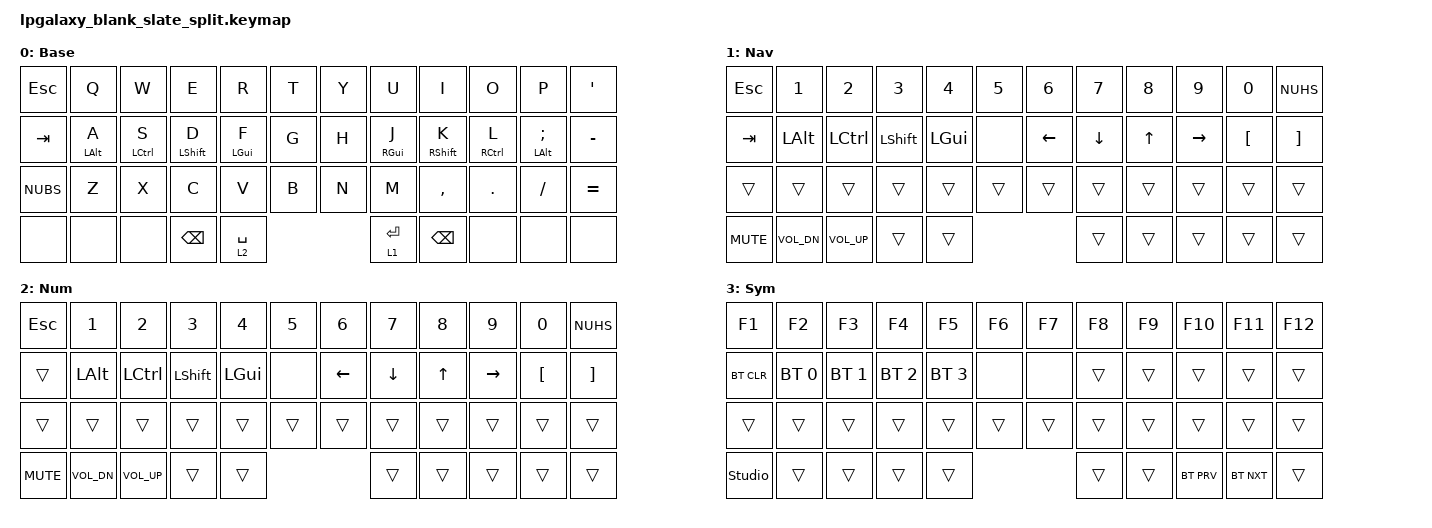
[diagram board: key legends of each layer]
/*
 * Copyright (c) 2022 Pete Johanson
 *
 * SPDX-License-Identifier: MIT
 */

#include <behaviors.dtsi>
#include <dt-bindings/zmk/keys.h>
#include <dt-bindings/zmk/bt.h>
#include <dt-bindings/zmk/outputs.h>

#define QWERTY_BASE 1

//#define TBLE_ORTHO   1
// #define TBLE_MIT     1
#define TBLE_DUAL_2U 1

#define NAV_L 1
#define NUM_L 2
#define SYM_L 3

// Using layer taps on thumbs, having quick tap as well helps w/ repeating space/backspace
&lt { flavor = "tap-preferred";
	tapping-term-ms = <200>;
	quick_tap_ms = <200>; };
&mt { flavor = "tap-preferred";
	tapping-term-ms = <200>;
	quick-tap-ms = <200>; };

#define BT(n) BT_SEL n


/ {
    chosen {
       zmk,physical-layout =
#ifdef TBLE_DUAL_2U
                       &layout_ortho_4x12_2x2u;
#elif defined(TBLE_MIT)
                       &layout_ortho_4x12_1x2u;
#else
                       &layout_ortho_4x12_all1u;
#endif
    };


    macros {
      ZMK_MACRO(thumbs_up,
		wait-ms = <1>;
		tap-ms = <5>;
                bindings = <&kp PLUS &kp COLON &kp PLUS &kp N1 &kp COLON &kp RET>;
		)
    };
    
    tap_dances {
    	shifty: shift_caps_word {
		compatible = "zmk,behavior-tap-dance";
		label = "TD_SHIFTY";
		#binding-cells = <0>;
		tapping-term-ms = <150>;
		bindings = <&kp LSHFT>, <&caps_word>;
	};
    };

// Conditional layer only when we have less thumb keys
#ifdef TBLE_DUAL_2U
    cond_layers {
        compatible = "zmk,conditional-layers";
	tri {
	    if-layers = <NUM_L NAV_L>;
	    then-layer = <SYM_L>;
        };
    };
#endif

    keymap {
        compatible = "zmk,keymap";

        base_layer {
            label = "Base";
            bindings = <
 &kp ESC    &kp Q       &kp W           &kp E           &kp R           &kp T       &kp Y           &kp U           &kp I           &kp O           &kp P           &kp SQT
 &kp TAB    &mt LALT A  &mt LCTRL S     &mt LSHIFT D    &mt LGUI F      &kp G       &kp H           &mt RGUI J      &mt RSHIFT K    &mt RCTRL L     &mt LALT SEMI   &kp MINUS
 &kp NUBS   &kp Z       &kp X           &kp C           &kp V           &kp B       &kp N           &kp M           &kp COMMA       &kp DOT         &kp FSLH        &kp EQUAL
 &none      &none       &none           &kp BSPC            &lt 2 SPACE                 &lt 1 RET                   &kp BSPC        &none           &none           &none
            >;
        };

        nav_layer {
            label = "Nav";
            bindings = <
&kp ESC     &kp N1      &kp N2          &kp N3          &kp N4          &kp N5      &kp N6          &kp N7          &kp N8          &kp N9          &kp N0          &kp NUHS
&kp TAB     &kp LALT    &kp LCTRL       &kp LSHIFT      &kp LGUI        &none       &kp LEFT        &kp DOWN        &kp UP          &kp RIGHT       &kp LBKT        &kp RBKT
&trans      &trans      &trans          &trans          &trans          &trans      &trans          &trans          &trans          &trans          &trans          &trans
&kp C_MUTE  &kp C_VOL_DN    &kp C_VOL_UP        &trans          &trans                      &trans                  &trans          &trans          &trans          &trans
            >;
        };

        num_layer {
            label = "Num";
            bindings = <
&kp ESC     &kp N1      &kp N2          &kp N3          &kp N4          &kp N5      &kp N6          &kp N7          &kp N8          &kp N9          &kp N0          &kp NUHS
&trans      &kp LALT    &kp LCTRL       &kp LSHIFT      &kp LGUI        &none       &kp LEFT        &kp DOWN        &kp UP          &kp RIGHT       &kp LBKT        &kp RBKT
&trans      &trans      &trans          &trans          &trans          &trans      &trans          &trans          &trans          &trans          &trans          &trans
&kp C_MUTE  &kp C_VOL_DN    &kp C_VOL_UP    &trans              &trans                        &trans                &trans          &trans          &trans          &trans
            >;
        };

        sym_layer {
            label = "Sym";
            bindings = <
&kp F1      &kp F2        &kp F3         &kp F4       &kp F5        &kp F6          &kp F7      &kp F8      &kp F9      &kp F10     &kp F11     &kp F12
&bt BT_CLR  &bt BT_SEL 0  &bt BT_SEL 1  &bt BT_SEL 2  &bt BT_SEL 3  &none           &none       &trans      &trans      &trans      &trans      &trans
&trans      &trans        &trans        &trans        &trans        &trans          &trans      &trans      &trans      &trans      &trans      &trans
&studio_unlock      &trans        &trans        &trans                &trans                    &trans              &trans      &bt BT_PRV  &bt BT_NXT  &trans
            >;
        };


    };

    conditional_layers {
        compatible = "zmk,conditional-layers";

        bt {
            if-layers = <1 2>;
            then-layer = <3>;
        };
    };

};

